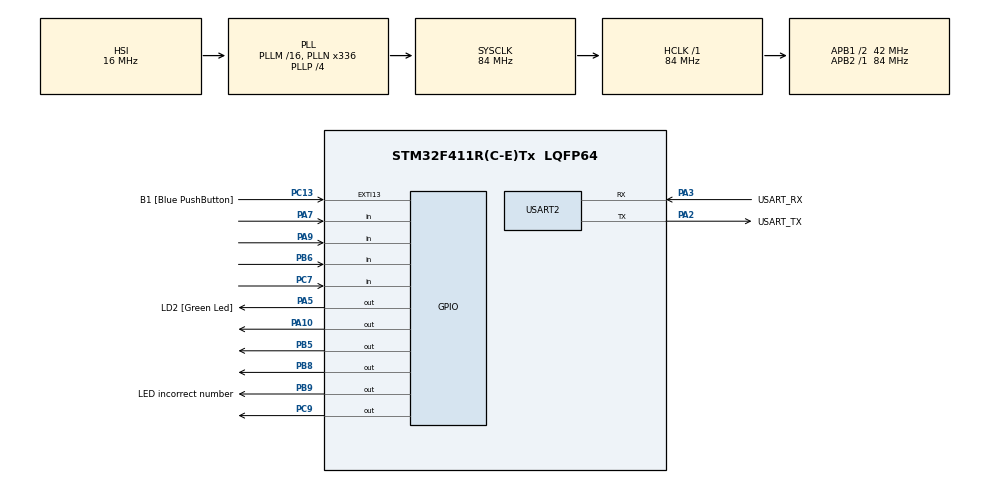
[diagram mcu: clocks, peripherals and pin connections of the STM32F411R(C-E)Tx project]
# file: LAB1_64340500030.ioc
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Mcu.Family=STM32F4
Mcu.Name=STM32F411R(C-E)Tx
Mcu.Package=LQFP64
NVIC.PriorityGroup=NVIC_PRIORITYGROUP_0
PA10.GPIO_ModeDefaultOutputPP=GPIO_MODE_OUTPUT_OD
PA10.GPIO_PuPd=GPIO_NOPULL
PA10.Signal=GPIO_Output
PA13.GPIO_Label=TMS
PA13.Mode=Serial_Wire
PA13.Signal=SYS_JTMS-SWDIO
PA14.GPIO_Label=TCK
PA14.Mode=Serial_Wire
PA14.Signal=SYS_JTCK-SWCLK
PA2.GPIO_Label=USART_TX
PA2.Mode=Asynchronous
PA2.Signal=USART2_TX
PA3.GPIO_Label=USART_RX
PA3.Mode=Asynchronous
PA3.Signal=USART2_RX
PA5.GPIO_Label=LD2 [Green Led]
PA5.PinState=GPIO_PIN_RESET
PA5.Signal=GPIO_Output
PA7.GPIO_PuPd=GPIO_PULLUP
PA7.Signal=GPIO_Input
PA9.GPIO_PuPd=GPIO_PULLUP
PA9.Signal=GPIO_Input
PB3.GPIO_Label=SWO
PB3.Signal=SYS_JTDO-SWO
PB5.GPIO_ModeDefaultOutputPP=GPIO_MODE_OUTPUT_OD
PB5.GPIO_PuPd=GPIO_NOPULL
PB5.Signal=GPIO_Output
PB6.GPIO_PuPd=GPIO_PULLUP
PB6.Signal=GPIO_Input
PB8.GPIO_ModeDefaultOutputPP=GPIO_MODE_OUTPUT_OD
PB8.GPIO_PuPd=GPIO_NOPULL
PB8.Signal=GPIO_Output
PB9.GPIO_Label=LED incorrect number
PB9.PinState=GPIO_PIN_RESET
PB9.Signal=GPIO_Output
PC13-ANTI_TAMP.GPIO_Label=B1 [Blue PushButton]
PC13-ANTI_TAMP.GPIO_ModeDefaultEXTI=GPIO_MODE_IT_FALLING
PC13-ANTI_TAMP.Signal=GPXTI13
PC14-OSC32_IN.Mode=LSE-External-Oscillator
PC14-OSC32_IN.Signal=RCC_OSC32_IN
PC15-OSC32_OUT.Mode=LSE-External-Oscillator
PC15-OSC32_OUT.Signal=RCC_OSC32_OUT
PC7.GPIO_PuPd=GPIO_PULLUP
PC7.Signal=GPIO_Input
PC9.GPIO_ModeDefaultOutputPP=GPIO_MODE_OUTPUT_OD
PC9.GPIO_PuPd=GPIO_NOPULL
PC9.Signal=GPIO_Output
PH0\ -\ OSC_IN.Mode=HSE-External-Clock-Source
PH0\ -\ OSC_IN.Signal=RCC_OSC_IN
PH1\ -\ OSC_OUT.Mode=HSE-External-Clock-Source
PH1\ -\ OSC_OUT.Signal=RCC_OSC_OUT
ProjectManager.HeapSize=0x200
ProjectManager.StackSize=0x400
ProjectManager.TargetToolchain=STM32CubeIDE
RCC.48MHZClocksFreq_Value=84000000
RCC.AHBFreq_Value=84000000
RCC.APB1CLKDivider=RCC_HCLK_DIV2
RCC.APB1Freq_Value=42000000
RCC.APB1TimFreq_Value=84000000
RCC.APB2Freq_Value=84000000
RCC.APB2TimFreq_Value=84000000
RCC.CortexFreq_Value=84000000
RCC.FLatency-AdvancedSettings=FLASH_LATENCY_2
RCC.HCLKFreq_Value=84000000
RCC.HSE_VALUE=8000000
RCC.HSI_VALUE=16000000
RCC.PLLN=336
RCC.PLLP=RCC_PLLP_DIV4
RCC.SYSCLKFreq_VALUE=84000000
RCC.SYSCLKSource=RCC_SYSCLKSOURCE_PLLCLK
RCC.VCOOutputFreq_Value=336000000
USART2.VirtualMode=VM_ASYNC
board=NUCLEO-F411RE

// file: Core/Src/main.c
/* USER CODE BEGIN Header */
/**
 ******************************************************************************
 * @file           : main.c
 * @brief          : Main program body
 ******************************************************************************
 * @attention
 *
 * Copyright (c) 2023 STMicroelectronics.
 * All rights reserved.
 *
 * This software is licensed under terms that can be found in the LICENSE file
 * in the root directory of this software component.
 * If no LICENSE file comes with this software, it is provided AS-IS.
 *
 ******************************************************************************
 */
/* USER CODE END Header */
#include "main.h"

UART_HandleTypeDef huart2;

/* USER CODE BEGIN PV */
struct PortPin {
	GPIO_TypeDef *PORT;
	uint16_t PIN;
};

struct PortPin R[4] = {
		{ GPIOA, GPIO_PIN_10 }, //A10
		{ GPIOC, GPIO_PIN_9 }, //C9
		{ GPIOB, GPIO_PIN_5 }, //B5
		{ GPIOB, GPIO_PIN_8 } //B8
};

struct PortPin L[4] = {
		{ GPIOA, GPIO_PIN_9 }, //A9
		{ GPIOC, GPIO_PIN_7 }, //C7
		{ GPIOB, GPIO_PIN_6 }, //B6
		{ GPIOA, GPIO_PIN_7 } //A7
};

uint16_t ButtonMatrix = 0;
uint16_t ButtonMatrix_L = 0;
int flag = 0;
int state = 0, state_L = 0;
int number = 0;
/* USER CODE END PV */

void SystemClock_Config(void);
static void MX_GPIO_Init(void);
static void MX_USART2_UART_Init(void);
/* USER CODE BEGIN PFP */
void ReadMatrixButton_1Row();
/* USER CODE END PFP */

int main(void)
{

  /* MCU Configuration--------------------------------------------------------*/

  /* Reset of all peripherals, Initializes the Flash interface and the Systick. */
  HAL_Init();

  /* Configure the system clock */
  SystemClock_Config();

  /* Initialize all configured peripherals */
  MX_GPIO_Init();
  MX_USART2_UART_Init();

  /* Infinite loop */
	while (1) {

    /* USER CODE BEGIN 3 */

		//rising edge
		if (ButtonMatrix_L == 0 && ButtonMatrix != 0) {
			flag = 1;
		} else {
			flag = 0;
		}
		ButtonMatrix_L = ButtonMatrix;

		//state transition
		switch (state) {
		case 0:
			//initial LED
			HAL_GPIO_WritePin(GPIOA, GPIO_PIN_5, 0); //LED1 off
			HAL_GPIO_WritePin(GPIOB, GPIO_PIN_9, 0); //LED2 off
			number = 1111;
			if (flag) {
				if (ButtonMatrix == 512) {state = 1;} //6
				else if (ButtonMatrix == 4096) {state = 0;} //clear
				else if (ButtonMatrix == 8192){state = 0;} //backspace
				else if (ButtonMatrix != 0 && ButtonMatrix != 32768 && ButtonMatrix != 128 && ButtonMatrix != 2048 && ButtonMatrix != 16384) {state = 12;} //0, ok, no value switches, backspace
				state_L = 0;
			}
			break;
		case 1:
			number = 6;
			if (flag) {
				if (ButtonMatrix == 2) {state = 2;} //4
				else if (ButtonMatrix == 4096) {state = 0;} //clear
				else if (ButtonMatrix == 8192){state -= 1;} //backspace
				else if (ButtonMatrix != 0 && ButtonMatrix != 32768 && ButtonMatrix != 128 && ButtonMatrix != 2048 && ButtonMatrix != 16384) {state = 12;}
				state_L = 1;
			}
			break;
		case 2:
			number = 4;
			if (flag) {
				if (ButtonMatrix == 1024) {state = 3;} //3
				else if (ButtonMatrix == 4096) {state = 0;} //clear
				else if (ButtonMatrix == 8192){state -= 1;} //backspace
				else if (ButtonMatrix != 0 && ButtonMatrix != 32768 && ButtonMatrix != 128 && ButtonMatrix != 2048 && ButtonMatrix != 16384) {state = 12;}
				state_L = 2;
			}
			break;
		case 3:
			number = 3;
			if (flag) {
				if (ButtonMatrix == 2) {state = 4;} //4
				else if (ButtonMatrix == 4096) {state = 0;} //clear
				else if (ButtonMatrix == 8192){state -= 1;} //backspace
				else if (ButtonMatrix != 0 && ButtonMatrix != 32768 && ButtonMatrix != 128 && ButtonMatrix != 2048 && ButtonMatrix != 16384) {state = 12;}
				state_L = 3;
			}
			break;
		case 4:
			number = 4;
			if (flag) {
				if (ButtonMatrix == 8) {state = 5;} //0
				else if (ButtonMatrix == 4096) {state = 0;} //clear
				else if (ButtonMatrix == 8192){state -= 1;} //backspace
				else if (ButtonMatrix != 0 && ButtonMatrix != 32768 && ButtonMatrix != 128 && ButtonMatrix != 2048 && ButtonMatrix != 16384) {state = 12;}
				state_L = 4;
			}
			break;
		case 5:
			number = 0;
			if (flag) {
				if (ButtonMatrix == 32) {state = 6;} //5
				else if (ButtonMatrix == 4096) {state = 0;} //clear
				else if (ButtonMatrix == 8192){state -= 1;} //backspace
				else if (ButtonMatrix != 0 && ButtonMatrix != 32768 && ButtonMatrix != 128 && ButtonMatrix != 2048 && ButtonMatrix != 16384) {state = 12;}
				state_L = 5;
			}
			break;
		case 6:
			number = 5;
			if (flag) {
				if (ButtonMatrix == 8) {state = 7;} //0
				else if (ButtonMatrix == 4096) {state = 0;} //clear
				else if (ButtonMatrix == 8192){state -= 1;} //backspace
				else if (ButtonMatrix != 0 && ButtonMatrix != 32768 && ButtonMatrix != 128 && ButtonMatrix != 2048 && ButtonMatrix != 16384) {state = 12;}
				state_L = 6;
			}
			break;
		case 7:
			number = 0;
			if (flag) {
				if (ButtonMatrix == 8) {state = 8;} //0
				else if (ButtonMatrix == 4096) {state = 0;} //clear
				else if (ButtonMatrix == 8192){state -= 1;} //backspace
				else if (ButtonMatrix != 0 && ButtonMatrix != 32768 && ButtonMatrix != 128 && ButtonMatrix != 2048 && ButtonMatrix != 16384) {state = 12;}
				state_L = 7;
			}
			break;
		case 8:
			number = 0;
			if (flag) {
				if (ButtonMatrix == 8) {state = 9;} //0
				else if (ButtonMatrix == 4096) {state = 0;} //clear
				else if (ButtonMatrix == 8192){state -= 1;} //backspace
				else if (ButtonMatrix != 0 && ButtonMatrix != 32768 && ButtonMatrix != 128 && ButtonMatrix != 2048 && ButtonMatrix != 16384) {state = 12;}
				state_L = 8;
			}
			break;
		case 9:
			number = 0;
			if (flag) {
				if (ButtonMatrix == 1024) {state = 10;} //3
				else if (ButtonMatrix == 4096) {state = 0;} //clear
				else if (ButtonMatrix == 8192){state -= 1;} //backspace
				else if (ButtonMatrix != 0 && ButtonMatrix != 32768 && ButtonMatrix != 128 && ButtonMatrix != 2048 && ButtonMatrix != 16384) {state = 12;}
				state_L = 9;
			}
			break;
		case 10:
			number = 3;
			if (flag) {
				if (ButtonMatrix == 8) {state = 11;} //0
				else if (ButtonMatrix == 4096) {state = 0;} //clear
				else if (ButtonMatrix == 8192){state -= 1;} //backspace
				else if (ButtonMatrix != 0 && ButtonMatrix != 32768 && ButtonMatrix != 128 && ButtonMatrix != 2048 && ButtonMatrix != 16384) {state = 12;}
				state_L = 10;
			}
			break;
		case 11: //last number
			number = 0;
			if (flag) {
				if (ButtonMatrix == 32768) { //ok
					HAL_GPIO_WritePin(GPIOA, GPIO_PIN_5, 1); //LED1 on
					state = 11;
				}
				else if (ButtonMatrix == 4096) { //clear
					state = 0;
					HAL_GPIO_WritePin(GPIOA, GPIO_PIN_5, 0); //LED1 off
				}
				else if (ButtonMatrix == 8192){state -= 1;} //backspace
				else if (ButtonMatrix != 0 && ButtonMatrix != 32768 && ButtonMatrix != 128 && ButtonMatrix != 2048 && ButtonMatrix != 16384) {
					state = 12;
				}
				state_L = 11;
			}
			break;
		case 12: //input wrong number
			number = 999;
			HAL_GPIO_WritePin(GPIOB, GPIO_PIN_9, 1); //LED2 on
			if (flag) {
				if (ButtonMatrix == 4096) { //clear
					HAL_GPIO_WritePin(GPIOA, GPIO_PIN_5, 0); //LED1 off
					HAL_GPIO_WritePin(GPIOB, GPIO_PIN_9, 0); //LED2 off
					state = 0;
				}
				else if (ButtonMatrix == 8192){ //backspace
					state = state_L; //back to previous state
					HAL_GPIO_WritePin(GPIOB, GPIO_PIN_9, 0); //LED2 off
				}
			}
			break;
		}
		static uint32_t timestamp = 0;
		if (HAL_GetTick() >= timestamp) {
			timestamp = HAL_GetTick() + 100;
			ReadMatrixButton_1Row();
		}

	}
  /* USER CODE END 3 */
}

void SystemClock_Config(void)
{
  RCC_OscInitTypeDef RCC_OscInitStruct = {0};
  RCC_ClkInitTypeDef RCC_ClkInitStruct = {0};

  /** Configure the main internal regulator output voltage
  */
  __HAL_RCC_PWR_CLK_ENABLE();
  __HAL_PWR_VOLTAGESCALING_CONFIG(PWR_REGULATOR_VOLTAGE_SCALE1);

  /** Initializes the RCC Oscillators according to the specified parameters
  * in the RCC_OscInitTypeDef structure.
  */
  RCC_OscInitStruct.OscillatorType = RCC_OSCILLATORTYPE_HSI;
  RCC_OscInitStruct.HSIState = RCC_HSI_ON;
  RCC_OscInitStruct.HSICalibrationValue = RCC_HSICALIBRATION_DEFAULT;
  RCC_OscInitStruct.PLL.PLLState = RCC_PLL_ON;
  RCC_OscInitStruct.PLL.PLLSource = RCC_PLLSOURCE_HSI;
  RCC_OscInitStruct.PLL.PLLM = 16;
  RCC_OscInitStruct.PLL.PLLN = 336;
  RCC_OscInitStruct.PLL.PLLP = RCC_PLLP_DIV4;
  RCC_OscInitStruct.PLL.PLLQ = 4;
  if (HAL_RCC_OscConfig(&RCC_OscInitStruct) != HAL_OK)
  {
    Error_Handler();
  }

  /** Initializes the CPU, AHB and APB buses clocks
  */
  RCC_ClkInitStruct.ClockType = RCC_CLOCKTYPE_HCLK|RCC_CLOCKTYPE_SYSCLK
                              |RCC_CLOCKTYPE_PCLK1|RCC_CLOCKTYPE_PCLK2;
  RCC_ClkInitStruct.SYSCLKSource = RCC_SYSCLKSOURCE_PLLCLK;
  RCC_ClkInitStruct.AHBCLKDivider = RCC_SYSCLK_DIV1;
  RCC_ClkInitStruct.APB1CLKDivider = RCC_HCLK_DIV2;
  RCC_ClkInitStruct.APB2CLKDivider = RCC_HCLK_DIV1;

  if (HAL_RCC_ClockConfig(&RCC_ClkInitStruct, FLASH_LATENCY_2) != HAL_OK)
  {
    Error_Handler();
  }
}

static void MX_USART2_UART_Init(void)
{

  huart2.Instance = USART2;
  huart2.Init.BaudRate = 115200;
  huart2.Init.WordLength = UART_WORDLENGTH_8B;
  huart2.Init.StopBits = UART_STOPBITS_1;
  huart2.Init.Parity = UART_PARITY_NONE;
  huart2.Init.Mode = UART_MODE_TX_RX;
  huart2.Init.HwFlowCtl = UART_HWCONTROL_NONE;
  huart2.Init.OverSampling = UART_OVERSAMPLING_16;
  if (HAL_UART_Init(&huart2) != HAL_OK)
  {
    Error_Handler();
  }

}

static void MX_GPIO_Init(void)
{
  GPIO_InitTypeDef GPIO_InitStruct = {0};

  /* GPIO Ports Clock Enable */
  __HAL_RCC_GPIOC_CLK_ENABLE();
  __HAL_RCC_GPIOH_CLK_ENABLE();
  __HAL_RCC_GPIOA_CLK_ENABLE();
  __HAL_RCC_GPIOB_CLK_ENABLE();

  /*Configure GPIO pin Output Level */
  HAL_GPIO_WritePin(GPIOA, LD2_Pin|GPIO_PIN_10, GPIO_PIN_RESET);

  /*Configure GPIO pin Output Level */
  HAL_GPIO_WritePin(GPIOC, GPIO_PIN_9, GPIO_PIN_RESET);

  /*Configure GPIO pin Output Level */
  HAL_GPIO_WritePin(GPIOB, GPIO_PIN_5|GPIO_PIN_8|LED_incorrect_number_Pin, GPIO_PIN_RESET);

  /*Configure GPIO pin : B1_Pin */
  GPIO_InitStruct.Pin = B1_Pin;
  GPIO_InitStruct.Mode = GPIO_MODE_IT_FALLING;
  GPIO_InitStruct.Pull = GPIO_NOPULL;
  HAL_GPIO_Init(B1_GPIO_Port, &GPIO_InitStruct);

  /*Configure GPIO pin : LD2_Pin */
  GPIO_InitStruct.Pin = LD2_Pin;
  GPIO_InitStruct.Mode = GPIO_MODE_OUTPUT_PP;
  GPIO_InitStruct.Pull = GPIO_NOPULL;
  GPIO_InitStruct.Speed = GPIO_SPEED_FREQ_LOW;
  HAL_GPIO_Init(LD2_GPIO_Port, &GPIO_InitStruct);

  /*Configure GPIO pins : PA7 PA9 */
  GPIO_InitStruct.Pin = GPIO_PIN_7|GPIO_PIN_9;
  GPIO_InitStruct.Mode = GPIO_MODE_INPUT;
  GPIO_InitStruct.Pull = GPIO_PULLUP;
  HAL_GPIO_Init(GPIOA, &GPIO_InitStruct);

  /*Configure GPIO pin : PC7 */
  GPIO_InitStruct.Pin = GPIO_PIN_7;
  GPIO_InitStruct.Mode = GPIO_MODE_INPUT;
  GPIO_InitStruct.Pull = GPIO_PULLUP;
  HAL_GPIO_Init(GPIOC, &GPIO_InitStruct);

  /*Configure GPIO pin : PC9 */
  GPIO_InitStruct.Pin = GPIO_PIN_9;
  GPIO_InitStruct.Mode = GPIO_MODE_OUTPUT_OD;
  GPIO_InitStruct.Pull = GPIO_NOPULL;
  GPIO_InitStruct.Speed = GPIO_SPEED_FREQ_LOW;
  HAL_GPIO_Init(GPIOC, &GPIO_InitStruct);

  /*Configure GPIO pin : PA10 */
  GPIO_InitStruct.Pin = GPIO_PIN_10;
  GPIO_InitStruct.Mode = GPIO_MODE_OUTPUT_OD;
  GPIO_InitStruct.Pull = GPIO_NOPULL;
  GPIO_InitStruct.Speed = GPIO_SPEED_FREQ_LOW;
  HAL_GPIO_Init(GPIOA, &GPIO_InitStruct);

  /*Configure GPIO pins : PB5 PB8 */
  GPIO_InitStruct.Pin = GPIO_PIN_5|GPIO_PIN_8;
  GPIO_InitStruct.Mode = GPIO_MODE_OUTPUT_OD;
  GPIO_InitStruct.Pull = GPIO_NOPULL;
  GPIO_InitStruct.Speed = GPIO_SPEED_FREQ_LOW;
  HAL_GPIO_Init(GPIOB, &GPIO_InitStruct);

  /*Configure GPIO pin : PB6 */
  GPIO_InitStruct.Pin = GPIO_PIN_6;
  GPIO_InitStruct.Mode = GPIO_MODE_INPUT;
  GPIO_InitStruct.Pull = GPIO_PULLUP;
  HAL_GPIO_Init(GPIOB, &GPIO_InitStruct);

  /*Configure GPIO pin : LED_incorrect_number_Pin */
  GPIO_InitStruct.Pin = LED_incorrect_number_Pin;
  GPIO_InitStruct.Mode = GPIO_MODE_OUTPUT_PP;
  GPIO_InitStruct.Pull = GPIO_NOPULL;
  GPIO_InitStruct.Speed = GPIO_SPEED_FREQ_LOW;
  HAL_GPIO_Init(LED_incorrect_number_GPIO_Port, &GPIO_InitStruct);

}

/* USER CODE BEGIN 4 */
void ReadMatrixButton_1Row() {
	static uint8_t X = 0;
	register int i;
	for (i = 0; i < 4; i++) {
		if (HAL_GPIO_ReadPin(L[i].PORT, L[i].PIN)) {
			ButtonMatrix &= ~(1 << (X * 4 + i));
		} else {
			ButtonMatrix |= 1 << (X * 4 + i);
		}
	}
	HAL_GPIO_WritePin(R[X].PORT, R[X].PIN, 1);
	HAL_GPIO_WritePin(R[(X + 1) % 4].PORT, R[(X + 1) % 4].PIN, 0);
	X++;
	X %= 4;
}
/* USER CODE END 4 */

void Error_Handler(void)
{
	__disable_irq();
	while (1) {
	}
}
